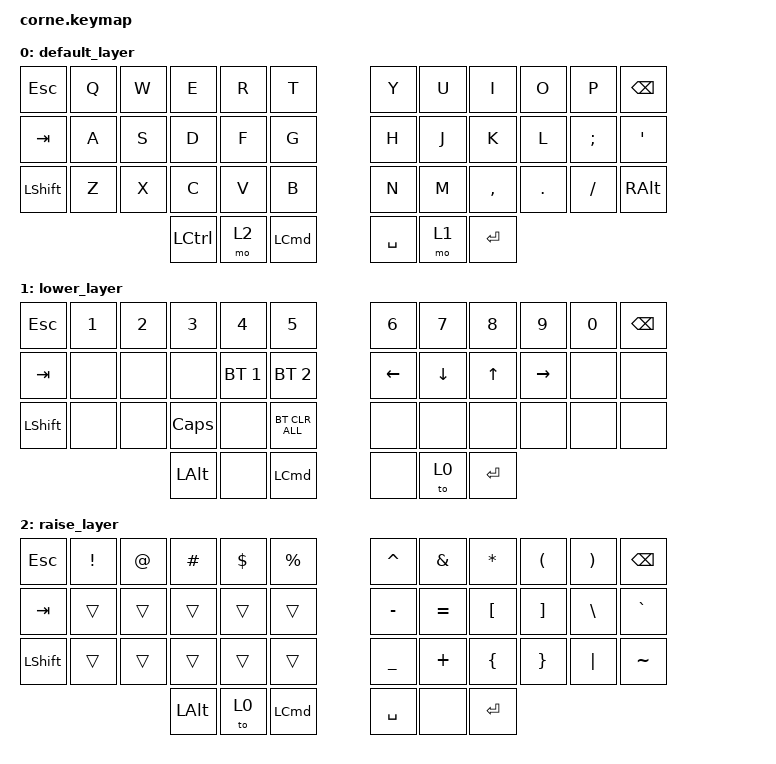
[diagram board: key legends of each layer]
/*
 * Copyright (c) 2020 The ZMK Contributors
 *
 * SPDX-License-Identifier: MIT
 */

#include <behaviors.dtsi>
#include <dt-bindings/zmk/bt.h>
#include <dt-bindings/zmk/keys.h>

/ {
    keymap {
        compatible = "zmk,keymap";

        default_layer {
            // -----------------------------------------------------------------------------------------
            // |  TAB |  Q  |  W  |  E  |  R  |  T  |   |  Y  |  U   |  I  |  O  |  P  | BSPC |
            // | CTRL |  A  |  S  |  D  |  F  |  G  |   |  H  |  J   |  K  |  L  |  ;  |  '   |
            // | SHFT |  Z  |  X  |  C  |  V  |  B  |   |  N  |  M   |  ,  |  .  |  /  | ESC  |
            //                    | GUI | LWR | SPC |   | ENT | RSE  | ALT |

            bindings = <
&kp ESCAPE      &kp Q  &kp W  &kp E             &kp R  &kp T               &kp Y      &kp U  &kp I      &kp O    &kp P     &kp BSPC
&kp TAB         &kp A  &kp S  &kp D             &kp F  &kp G               &kp H      &kp J  &kp K      &kp L    &kp SEMI  &kp SINGLE_QUOTE
&kp LEFT_SHIFT  &kp Z  &kp X  &kp C             &kp V  &kp B               &kp N      &kp M  &kp COMMA  &kp DOT  &kp FSLH  &kp RIGHT_ALT
                              &kp LEFT_CONTROL  &mo 2  &kp LEFT_COMMAND    &kp SPACE  &mo 1  &kp ENTER
            >;
        };

        lower_layer {
            // -----------------------------------------------------------------------------------------
            // |  TAB |  1  |  2  |  3  |  4  |  5  |   |  6  |  7  |  8  |  9  |  0  | BSPC |
            // | BTCLR| BT1 | BT2 | BT3 | BT4 | BT5 |   | LFT | DWN |  UP | RGT |     |      |
            // | SHFT |     |     |     |     |     |   |     |     |     |     |     |      |
            //                    | GUI |     | SPC |   | ENT |     | ALT |

            bindings = <
&kp ESCAPE  &kp N1  &kp N2  &kp N3        &kp N4        &kp N5              &kp N6    &kp N7    &kp N8     &kp N9     &kp N0  &kp BSPC
&kp TAB     &none   &none   &none         &bt BT_SEL 1  &bt BT_SEL 2        &kp LEFT  &kp DOWN  &kp UP     &kp RIGHT  &none   &none
&kp LSHFT   &none   &none   &kp CAPSLOCK  &none         &bt BT_CLR_ALL      &none     &none     &none      &none      &none   &none
                            &kp LEFT_ALT  &none         &kp LEFT_COMMAND    &none     &to 0     &kp ENTER
            >;
        };

        raise_layer {
            // -----------------------------------------------------------------------------------------
            // |  TAB |  !  |  @  |  #  |  $  |  %  |   |  ^  |  &  |  *  |  (  |  )  | BSPC |
            // | CTRL |     |     |     |     |     |   |  -  |  =  |  [  |  ]  |  \  |  `   |
            // | SHFT |     |     |     |     |     |   |  _  |  +  |  {  |  }  | "|" |  ~   |
            //                    | GUI |     | SPC |   | ENT |     | ALT |

            bindings = <
&kp ESCAPE  &kp EXCL  &kp AT  &kp HASH      &kp DLLR  &kp PRCNT           &kp CARET  &kp AMPS   &kp ASTRK  &kp LPAR  &kp RPAR  &kp BSPC
&kp TAB     &trans    &trans  &trans        &trans    &trans              &kp MINUS  &kp EQUAL  &kp LBKT   &kp RBKT  &kp BSLH  &kp GRAVE
&kp LSHFT   &trans    &trans  &trans        &trans    &trans              &kp UNDER  &kp PLUS   &kp LBRC   &kp RBRC  &kp PIPE  &kp TILDE
                              &kp LEFT_ALT  &to 0     &kp LEFT_COMMAND    &kp SPACE  &none      &kp ENTER
            >;
        };
    };
};
